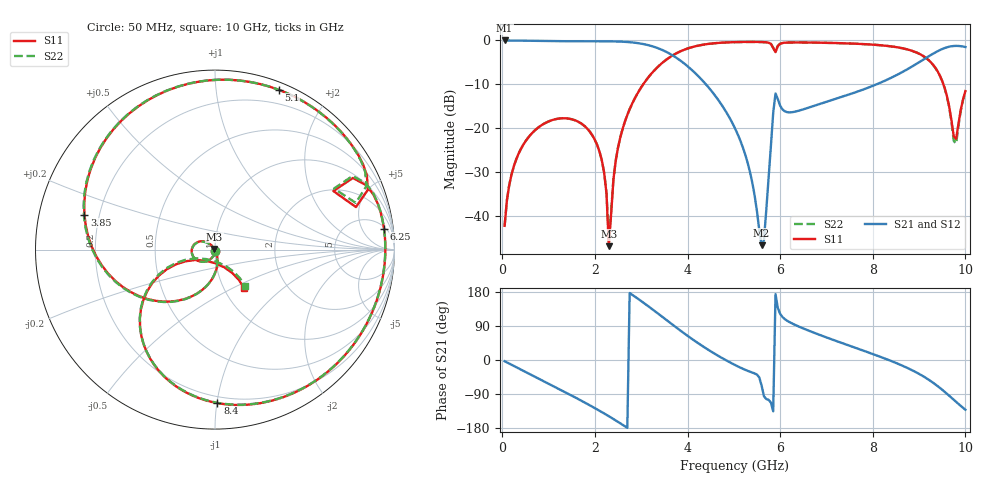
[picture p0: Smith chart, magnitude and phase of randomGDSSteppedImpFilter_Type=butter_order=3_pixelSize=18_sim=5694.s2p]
! freq	dB(S11)	phase(S11)	dB(S12)	phase(S12)
!  dB(S21)	phase(S21)	dB(S22)	phase(S22)
!S-par simulation data
#  GHz  S  DB  R 50
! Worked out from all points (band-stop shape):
!   200 points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, 50 MHz to 10 GHz, reference 50 ohm
!   highest |S21| = -0.01 dB at 50 MHz (marker M1); lowest = -46.6 dB at 5.6 GHz (marker M2)
!   |S21| within 3 dB of the highest: start of sweep to 3.613 GHz; 9.304 GHz to end of sweep
!   lowest |S11| = -46.8 dB at 2.3 GHz (marker M3), VSWR 1.01, Z = 49.7 + j0.295 ohm
!   |S11| at or under -10 dB: start of sweep to 3.042 GHz; 9.526 GHz to end of sweep
!   |S22| runs from -44.9 to -0.3 dB; largest |S21 - S12| = 0
!   S11 on the Smith chart (normalised r, x): 50 MHz: 1.00, -0.02; 3.85 GHz: 0.14, +0.13; 5.1 GHz: 0.07, +1.47; 6.25 GHz: 6, +14; 8.4 GHz: 0.16, -1.00; 10 GHz: 1.24, -0.56
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0.05  -42.16 -91.1  -0.01 -3.2  -0.01 -3.2  -42.16 -91.1
0.2  -30.47 -101.9  -0.03 -12.5  -0.03 -12.5  -30.47 -101.8
0.55  -22.22 -124.7  -0.08 -34.3  -0.08 -34.3  -22.23 -124.5
1.75  -19.24 158.9  -0.19 -110.2  -0.19 -110.2  -19.24 160.1
2.15  -27.30 132.5  -0.19 -137.5  -0.19 -137.5  -27.30 135.8
2.3  -46.79 139.6  -0.20 -148.3  -0.20 -148.3  -44.88 164.1
2.4  -31.60 -70.6  -0.22 -155.7  -0.22 -155.7  -31.49 -75.2
2.6  -20.05 -83.8  -0.29 -171.1  -0.29 -171.1  -20.03 -84.7
3.4  -5.60 -153.2  -1.93 119.1  -1.93 119.1  -5.60 -152.6
3.85  -2.46 165.0  -4.61 77.2  -4.61 77.2  -2.46 165.8
4.45  -0.79 114.2  -10.63 26.8  -10.63 26.8  -0.80 115.3
5.05  -0.38 71.5  -20.55 -14.7  -20.55 -14.7  -0.38 72.7
5.1  -0.37 68.2  -21.75 -17.7  -21.75 -17.7  -0.37 69.4
5.6  -0.37 36.7  -46.59 -67.7  -46.59 -67.7  -0.37 38.0
5.9  -2.67 26.3  -12.05 173.8  -12.05 173.8  -2.55 27.2
6.25  -0.46 7.0  -16.33 96.9  -16.33 96.9  -0.46 8.0
6.7  -0.49 -15.2  -14.99 73.4  -14.99 73.4  -0.49 -14.3
8.35  -1.29 -86.8  -8.73 -0.3  -8.73 -0.3  -1.30 -86.4
8.4  -1.36 -89.1  -8.48 -2.7  -8.48 -2.7  -1.36 -88.7
9.35  -6.20 -144.7  -2.73 -64.2  -2.73 -64.2  -6.22 -145.2
9.8  -22.37 -88.2  -1.24 -110.5  -1.24 -110.5  -23.48 -85.0
10  -11.52 -52.8  -1.51 -131.2  -1.51 -131.2  -11.59 -50.4
